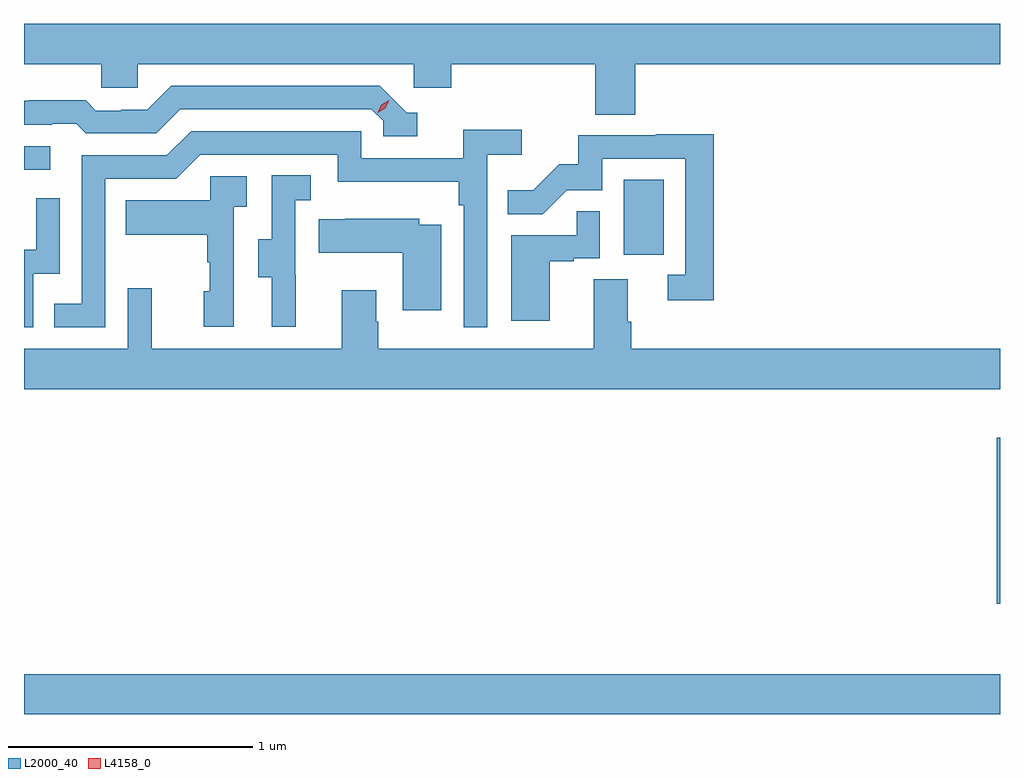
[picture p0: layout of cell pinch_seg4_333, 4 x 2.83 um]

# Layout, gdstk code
import gdstk
lib = gdstk.Library(unit=1e-6, precision=1e-09)
def R(c, l, rs):  # rectangles x0, y0, x1, y1
    for r in rs: c.add(gdstk.rectangle(r[:2], r[2:], *l))
def P(c, l, *ps):  # polygons
    for p in ps: c.add(gdstk.Polygon(p, *l))
L2000_40 = (2000, 40)
L4158_0 = (4158, 0)

pinch_seg4_333 = lib.new_cell('pinch_seg4_333')
R(pinch_seg4_333, L2000_40, [(1004.506,807.476,1008.506,807.64), (1008.493,807.928,1008.506,808.609), (1006.964,809.358,1007.128,809.665), (1004.506,809.706,1004.614,809.802)])
P(pinch_seg4_333, L2000_40, [(1007.012,810.14),(1008.506,810.14),(1008.506,810.304),(1004.506,810.304),(1004.506,810.14),(1004.823,810.14),(1004.823,810.042),(1004.973,810.042),(1004.973,810.14),(1006.104,810.14),(1006.104,810.042),(1006.256,810.042),(1006.256,810.14),(1006.847,810.14),(1006.847,809.932),(1007.012,809.932)],
  [(1006.117,809.94),(1006.074,809.94),(1005.963,810.051),(1005.11,810.051),(1005.011,809.952),(1004.904,809.952),(1004.904,809.949),(1004.801,809.949),(1004.759,809.992),(1004.526,809.992),(1004.526,809.989),(1004.506,809.989),(1004.506,809.892),(1004.621,809.892),(1004.621,809.895),(1004.72,809.895),(1004.759,809.856),(1005.048,809.856),(1005.147,809.955),(1005.93,809.955),(1005.978,809.907),(1005.978,809.844),(1006.117,809.844)],
  [(1004.838,809.67),(1005.129,809.67),(1005.228,809.769),(1005.792,809.769),(1005.792,809.657),(1006.288,809.657),(1006.288,809.561),(1006.308,809.561),(1006.308,809.061),(1006.404,809.061),(1006.404,809.768),(1006.546,809.768),(1006.546,809.87),(1006.307,809.87),(1006.307,809.754),(1005.888,809.754),(1005.888,809.865),(1005.191,809.865),(1005.092,809.766),(1004.742,809.766),(1004.742,809.157),(1004.629,809.157),(1004.629,809.061),(1004.838,809.061)],
  [(1007.333,809.852),(1007.095,809.852),(1007.095,809.847),(1006.777,809.847),(1006.777,809.73),(1006.7,809.73),(1006.593,809.623),(1006.489,809.623),(1006.489,809.524),(1006.633,809.524),(1006.731,809.622),(1006.875,809.622),(1006.875,809.751),(1007.217,809.751),(1007.217,809.277),(1007.145,809.277),(1007.145,809.172),(1007.333,809.172)],
  [(1005.62,809.277),(1005.618,809.277),(1005.618,809.581),(1005.682,809.581),(1005.682,809.684),(1005.522,809.684),(1005.522,809.421),(1005.467,809.421),(1005.467,809.266),(1005.521,809.266),(1005.521,809.064),(1005.62,809.064)],
  [(1005.366,809.555),(1005.418,809.555),(1005.418,809.679),(1005.27,809.679),(1005.27,809.581),(1004.923,809.581),(1004.923,809.441),(1005.258,809.441),(1005.258,809.327),(1005.268,809.327),(1005.268,809.208),(1005.242,809.208),(1005.242,809.064),(1005.366,809.064)],
  [(1004.544,809.28),(1004.652,809.28),(1004.652,809.59),(1004.556,809.59),(1004.556,809.378),(1004.506,809.378),(1004.506,809.061),(1004.544,809.061)],
  [(1006.66,809.331),(1006.76,809.331),(1006.76,809.343),(1006.866,809.343),(1006.866,809.537),(1006.771,809.537),(1006.771,809.439),(1006.502,809.439),(1006.502,809.088),(1006.66,809.088)],
  [(1006.216,809.482),(1006.125,809.482),(1006.125,809.506),(1005.823,809.506),(1005.823,809.503),(1005.715,809.503),(1005.715,809.366),(1006.058,809.366),(1006.058,809.13),(1006.216,809.13)],
  [(1008.506,808.972),(1006.994,808.972),(1006.994,809.084),(1006.981,809.084),(1006.981,809.258),(1006.841,809.258),(1006.841,808.972),(1005.957,808.972),(1005.957,809.084),(1005.949,809.084),(1005.949,809.212),(1005.809,809.212),(1005.809,808.972),(1005.029,808.972),(1005.029,809.221),(1004.931,809.221),(1004.931,808.972),(1004.506,808.972),(1004.506,808.808),(1008.506,808.808)])
P(pinch_seg4_333, L4158_0, [(1005.955,809.94),(1005.955,809.94),(1005.971,809.973),(1006.002,809.992),(1006.002,809.992),(1006.002,809.992),(1005.986,809.959),(1005.956,809.94)])

lib.write_gds('pinch_seg4_333.gds')
